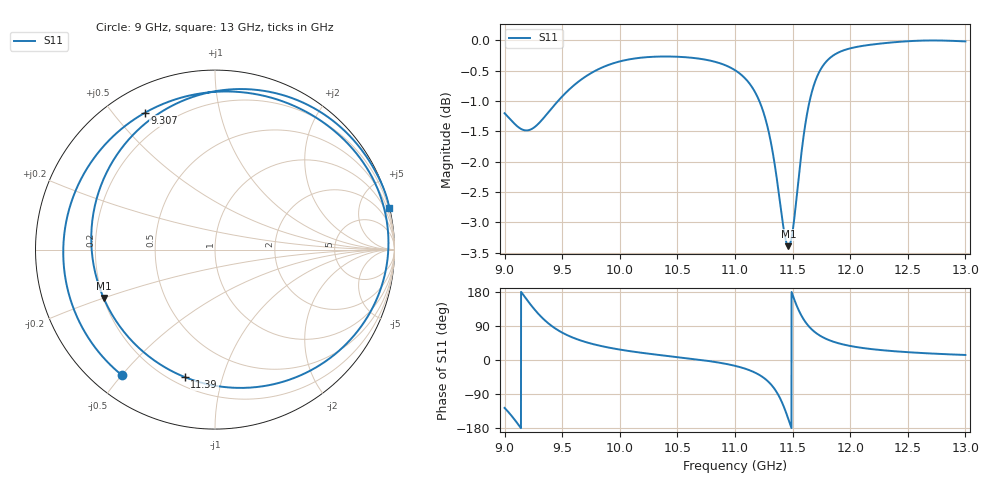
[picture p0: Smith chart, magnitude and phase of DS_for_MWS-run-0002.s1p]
! TOUCHSTONE file generated by CST DESIGN STUDIO
! Date and time: Tue Feb  4 12:52:42 2025
! Project name: C:\Work\MatlabApps\UnitCellOptimizationMatlab\CST\unitcell.cst
! Tree item: Tasks\Sweep1\SPara1\S-Parameters
! Header version: 2024
! Port assignment regex: !\s*Touchstone port\s*([0-9]+)\s*=\s*(CST MWS port|CST DES external port|CST DES block port)\s*(.+)\s* \(\"(.*)\"\)(\s*mode\s*([0-9]+))?.*
! Touchstone port assignment:
! Touchstone port 1 = CST DES external port 1 ("")
# GHz S MA R 50
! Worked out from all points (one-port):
!   4001 points, 9 GHz to 13 GHz, reference 50 ohm
!   lowest |S11| = -3.4 dB at 11.46 GHz (marker M1), VSWR 5.19, Z = 10 - j9.96 ohm
!   |S11| at or under -10 dB: nowhere
!   S11 on the Smith chart (normalised r, x): 9 GHz: 0.09, -0.50; 9.307 GHz: 0.11, +0.60; 11.39 GHz: 0.25, -0.76; 13 GHz: 0.06, +8.58
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9  0.871 -126.5
9.088  0.8534 -157.8
9.151  0.8446 176.5
9.235  0.8453 142.6
9.307  0.8565 117.3
9.391  0.8751 94.0
9.5  0.8992 72.2
9.709  0.9347 46.9
10  0.9611 27.5
10.5  0.9696 7.7
11  0.9452 -15.4
11.14  0.9176 -28.7
11.241  0.8761 -45.2
11.319  0.8172 -66.8
11.395  0.73 -103.3
11.429  0.6932 -127.3
11.464  0.6767 -156.6
11.5  0.6959 171.7
11.53  0.7351 147.5
11.568  0.7946 122.1
11.601  0.8414 104.8
11.638  0.8825 89.9
11.706  0.9306 70.7
11.782  0.9583 57.0
11.877  0.9752 46.1
12  0.9852 37.1
12.5  0.9986 20.6
13  0.9983 13.3
